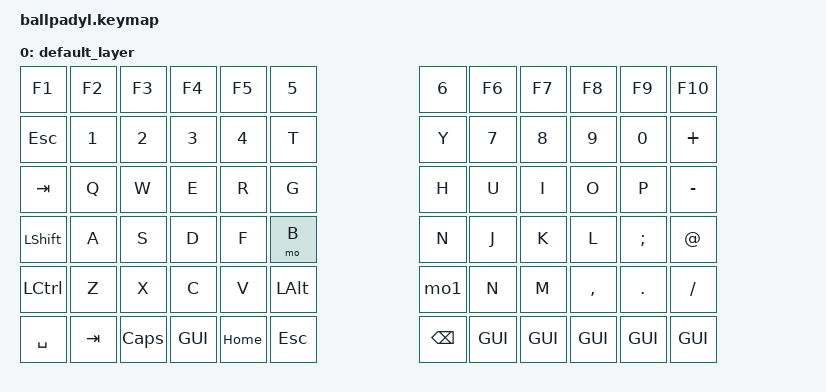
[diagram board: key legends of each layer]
/*
 * Copyright (c) 2020 The ZMK Contributors
 *
 * SPDX-License-Identifier: MIT
 */

#include <behaviors.dtsi>
#include <dt-bindings/zmk/keys.h>
#include <dt-bindings/zmk/bt.h>
#include <dt-bindings/zmk/ext_power.h>

/ {
    keymap {
        compatible = "zmk,keymap";

        default_layer {
// ------------------------------------------------------------------------------------------------------------
// |  ESC  |  1  |  2  |  3   |  4   |  5   |                   |  6   |  7    |  8    |  9   |   0   |   `   |
// |  TAB  |  Q  |  W  |  E   |  R   |  T   |                   |  Y   |  U    |  I    |  O   |   P   |   -   |
// |  CTRL |  A  |  S  |  D   |  F   |  G   |                   |  H   |  J    |  K    |  L   |   ;   |   '   |
// | SHIFT |  Z  |  X  |  C   |  V   |  B   |   "["  |  |  "]"  |  N   |  M    |  ,    |  .   |   /   | SHIFT |
//                     | ALT  | GUI  | LOWER|  SPACE |  | ENTER | RAISE| BSPC  | GUI   |
            bindings = <
&kp F1     &kp F2  &kp F3    &kp F4    &kp F5    &kp N5                      &kp N6   &kp F6    &kp F7    &kp F8    &kp F9    &kp F10
&kp ESC    &kp N1  &kp N2    &kp N3    &kp N4    &kp T                       &kp Y    &kp N7    &kp N8    &kp N9    &kp N0    &kp PLUS
&kp TAB    &kp Q   &kp W     &kp E     &kp R     &kp G                       &kp H    &kp U     &kp I     &kp O     &kp P     &kp MINUS
&kp LSHFT  &kp A   &kp S     &kp D     &kp F     &mo B                       &kp N    &kp J     &kp K     &kp L     &kp SEMI  &kp AT
&kp LCTRL  &kp Z   &kp X     &kp C     &kp V     &kp LALT                    &kp mo1  &kp N     &kp M     &kp COMMA &kp DOT   &kp FSLH
&kp SPC  &kp TAB &kp CAPS  &kp GUI  &kp HOME  &kp ESCAPE                     &kp BSPC &kp GUI   &kp GUI   &kp GUI   &kp GUI    &kp GUI
            >;
        };


 //       };
    };
};
